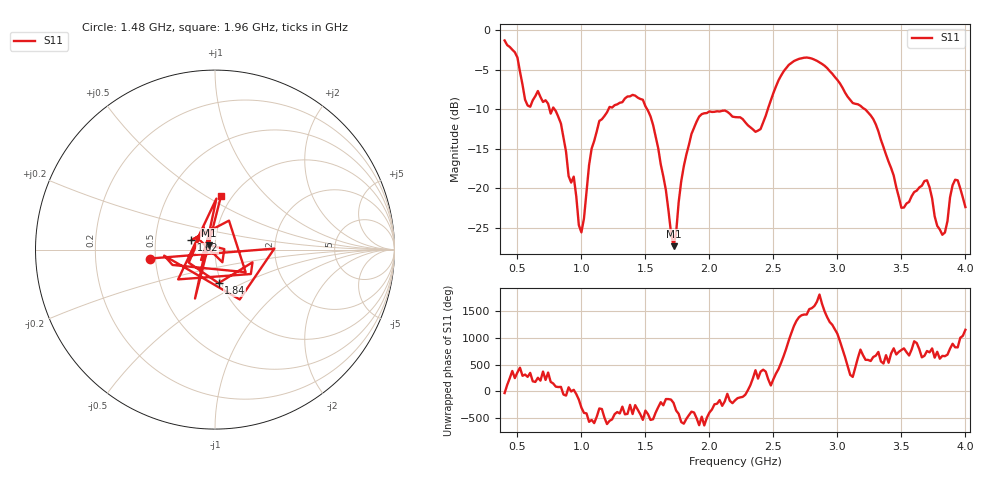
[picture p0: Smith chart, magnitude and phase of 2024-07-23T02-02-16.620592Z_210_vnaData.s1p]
!Created with skrf (http://scikit-rf.org).
# Hz S RI R 50.0
!freq ReS11 ImS11
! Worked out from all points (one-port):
!   181 points, 400 MHz to 4 GHz, reference 50 ohm
!   lowest |S11| = -27.4 dB at 1.72 GHz (marker M1), VSWR 1.09, Z = 46.6 + j2.32 ohm
!   |S11| at or under -10 dB: 789.9 MHz to 1.211 GHz (421.4 MHz wide, 42.1 % of centre); 1.514 GHz to 2.456 GHz (942.4 MHz wide, 47.5 % of centre); 3.215 GHz to end of sweep (the widest 3 of 4)
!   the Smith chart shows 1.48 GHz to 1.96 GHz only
!   S11 on the Smith chart (normalised r, x): 1.48 GHz: 0.47, -0.05; 1.62 GHz: 0.76, +0.08; 1.84 GHz: 0.97, -0.38; 1.96 GHz: 0.89, +0.58
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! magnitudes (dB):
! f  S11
! 400 MHz  -1.3
! 500 MHz  -3.4
! 580 MHz  -9.5
! 660 MHz  -7.7
! 860 MHz  -13.6
! 940 MHz  -18.5
! 1 GHz  -25.6
! 1.08 GHz  -15.0
! 1.14 GHz  -11.5
! 1.3 GHz  -9.2
! 1.48 GHz  -8.8
! 1.62 GHz  -17.0
! 1.72 GHz  -27.4
! 1.76 GHz  -21.8
! 1.84 GHz  -14.5
! 1.96 GHz  -10.5
! 2.2 GHz  -11.0
! 2.4 GHz  -12.5
! 2.66 GHz  -3.9
! 2.88 GHz  -4.2
! 3.1 GHz  -8.8
! 3.28 GHz  -11.2
! 3.5 GHz  -22.5
! 3.56 GHz  -21.8
! 3.7 GHz  -19.0
! 3.82 GHz  -25.9
! 3.92 GHz  -18.9
! 4 GHz  -22.4
